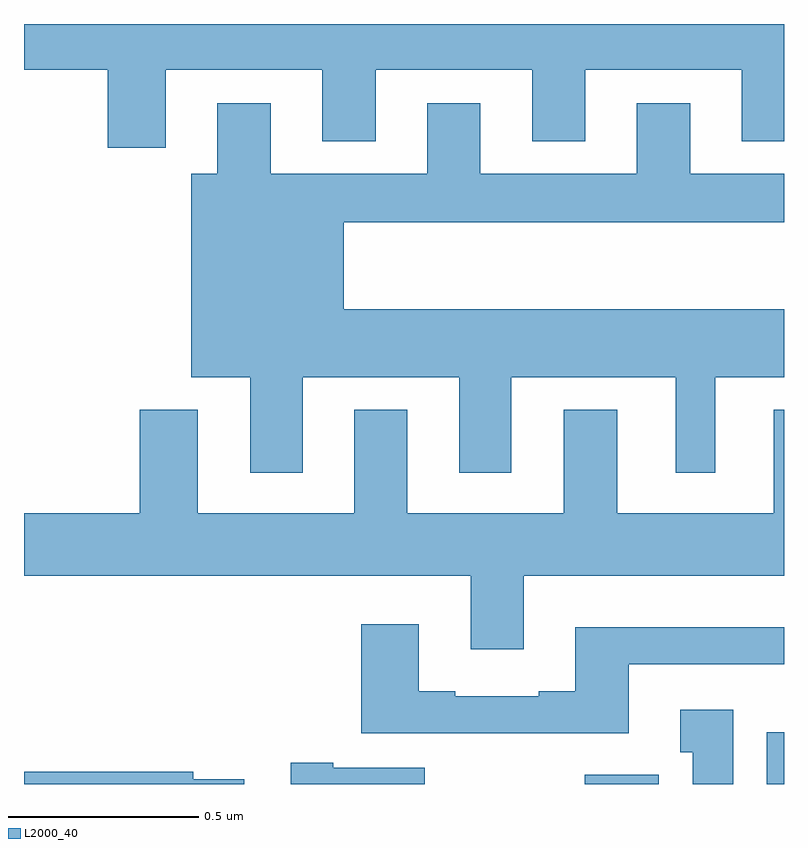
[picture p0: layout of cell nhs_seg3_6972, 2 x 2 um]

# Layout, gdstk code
import gdstk
lib = gdstk.Library(unit=1e-6, precision=1e-09)
def R(c, l, rs):  # rectangles x0, y0, x1, y1
    for r in rs: c.add(gdstk.rectangle(r[:2], r[2:], *l))
def P(c, l, *ps):  # polygons
    for p in ps: c.add(gdstk.Polygon(p, *l))
L2000_40 = (2000, 40)

nhs_seg3_6972 = lib.new_cell('nhs_seg3_6972')
R(nhs_seg3_6972, L2000_40, [(199.475,668.4,199.671,668.425), (199.955,668.4,200,668.536)])
P(nhs_seg3_6972, L2000_40, [(198.373,670.28),(198.785,670.28),(198.785,670.091),(198.925,670.091),(198.925,670.28),(199.337,670.28),(199.337,670.091),(199.477,670.091),(199.477,670.28),(199.889,670.28),(199.889,670.091),(200,670.091),(200,670.4),(198,670.4),(198,670.28),(198.221,670.28),(198.221,670.074),(198.373,670.074)],
  [(198.733,669.47),(199.145,669.47),(199.145,669.219),(199.282,669.219),(199.282,669.47),(199.715,669.47),(199.715,669.219),(199.819,669.219),(199.819,669.47),(200,669.47),(200,669.649),(198.841,669.649),(198.841,669.878),(200,669.878),(200,670.006),(199.753,670.006),(199.753,670.192),(199.613,670.192),(199.613,670.006),(199.201,670.006),(199.201,670.192),(199.061,670.192),(199.061,670.006),(198.649,670.006),(198.649,670.192),(198.509,670.192),(198.509,670.006),(198.44,670.006),(198.44,669.47),(198.596,669.47),(198.596,669.219),(198.733,669.219)],
  [(199.315,668.948),(200,668.948),(200,669.385),(199.973,669.385),(199.973,669.112),(199.561,669.112),(199.561,669.385),(199.421,669.385),(199.421,669.112),(199.009,669.112),(199.009,669.385),(198.869,669.385),(198.869,669.112),(198.457,669.112),(198.457,669.385),(198.305,669.385),(198.305,669.112),(198,669.112),(198,668.948),(199.175,668.948),(199.175,668.754),(199.315,668.754)],
  [(199.591,668.715),(200,668.715),(200,668.812),(199.451,668.812),(199.451,668.644),(199.355,668.644),(199.355,668.631),(199.135,668.631),(199.135,668.644),(199.039,668.644),(199.039,668.821),(198.887,668.821),(198.887,668.534),(199.591,668.534)],
  [(199.867,668.596),(199.727,668.596),(199.727,668.483),(199.76,668.483),(199.76,668.4),(199.867,668.4)],
  [(199.054,668.443),(198.814,668.443),(198.814,668.456),(198.702,668.456),(198.702,668.4),(199.054,668.4)],
  [(198.58,668.412),(198.446,668.412),(198.446,668.432),(198,668.432),(198,668.4),(198.58,668.4)])

lib.write_gds('nhs_seg3_6972.gds')
